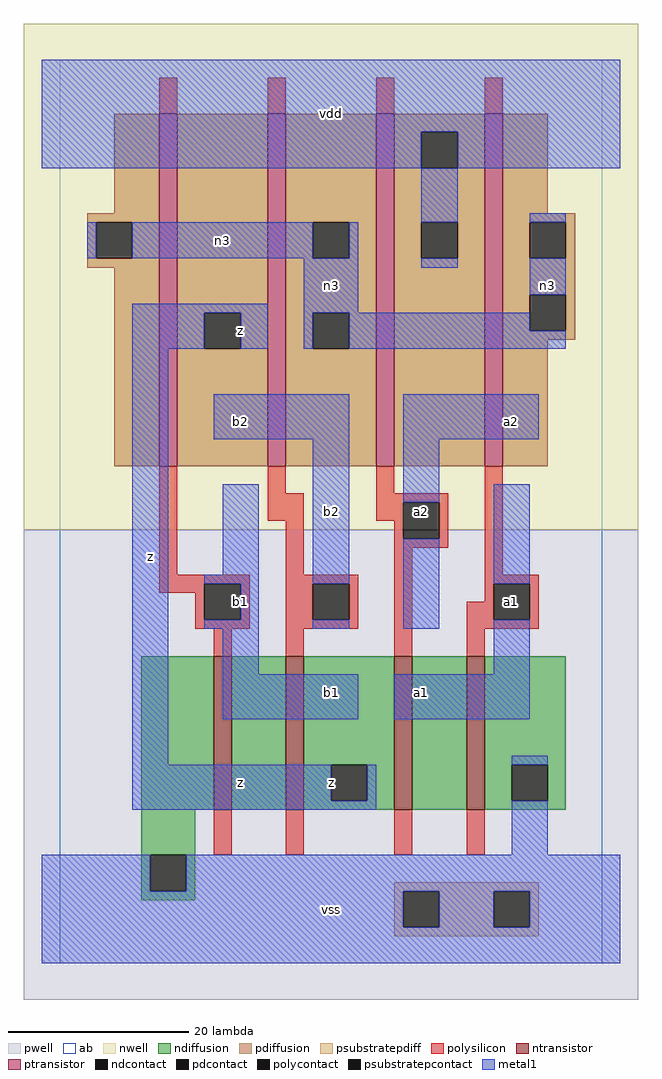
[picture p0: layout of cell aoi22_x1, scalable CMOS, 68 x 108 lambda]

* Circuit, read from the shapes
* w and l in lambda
.subckt aoi22_x1 a1 a2 b1 b2 n3 vdd vss z
M1 n1 b1 vss vss nfet w=17 l=2
M2 z b2 n1 vss nfet w=17 l=2
M3 n2 a2 z vss nfet w=17 l=2
M4 vss a1 n2 vss nfet w=17 l=2
M5 z b1 n3 n4 pfet w=39 l=2
M6 n3 b2 z n4 pfet w=39 l=2
M7 vdd a2 n3 n4 pfet w=39 l=2
M8 n3 a1 vdd n4 pfet w=39 l=2
.ends

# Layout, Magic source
magic
tech scmos
<< ab >>
rect 0 0 60 100
<< pwell >>
rect -4 -4 64 48
<< nwell >>
rect -4 48 64 104
<< polysilicon >>
rect 11 94 13 98
rect 23 94 25 98
rect 35 94 37 98
rect 47 94 49 98
rect 11 43 13 55
rect 23 52 25 55
rect 35 52 37 55
rect 23 49 27 52
rect 35 51 43 52
rect 35 49 38 51
rect 25 43 27 49
rect 37 47 38 49
rect 42 47 43 51
rect 37 46 43 47
rect 11 42 21 43
rect 11 41 16 42
rect 15 38 16 41
rect 20 38 21 42
rect 15 37 21 38
rect 25 42 33 43
rect 25 38 28 42
rect 32 38 33 42
rect 25 37 33 38
rect 17 34 19 37
rect 25 34 27 37
rect 37 34 39 46
rect 47 43 49 55
rect 47 42 53 43
rect 47 40 48 42
rect 45 38 48 40
rect 52 38 53 42
rect 45 37 53 38
rect 45 34 47 37
rect 17 12 19 17
rect 25 12 27 17
rect 37 12 39 17
rect 45 12 47 17
<< ndiffusion >>
rect 9 17 17 34
rect 19 17 25 34
rect 27 22 37 34
rect 27 18 30 22
rect 34 18 37 22
rect 27 17 37 18
rect 39 17 45 34
rect 47 22 56 34
rect 47 18 50 22
rect 54 18 56 22
rect 47 17 56 18
rect 9 12 15 17
rect 9 8 10 12
rect 14 8 15 12
rect 9 7 15 8
<< pdiffusion >>
rect 6 83 11 94
rect 3 82 11 83
rect 3 78 4 82
rect 8 78 11 82
rect 3 77 11 78
rect 6 55 11 77
rect 13 72 23 94
rect 13 68 16 72
rect 20 68 23 72
rect 13 55 23 68
rect 25 82 35 94
rect 25 78 28 82
rect 32 78 35 82
rect 25 72 35 78
rect 25 68 28 72
rect 32 68 35 72
rect 25 55 35 68
rect 37 92 47 94
rect 37 88 40 92
rect 44 88 47 92
rect 37 82 47 88
rect 37 78 40 82
rect 44 78 47 82
rect 37 55 47 78
rect 49 83 54 94
rect 49 82 57 83
rect 49 78 52 82
rect 56 78 57 82
rect 49 74 57 78
rect 49 70 52 74
rect 56 70 57 74
rect 49 69 57 70
rect 49 55 54 69
<< metal1 >>
rect -2 92 62 100
rect -2 88 40 92
rect 44 88 62 92
rect 40 82 44 88
rect 3 78 4 82
rect 8 78 28 82
rect 32 78 33 82
rect 8 72 23 73
rect 8 68 16 72
rect 20 68 23 72
rect 27 72 33 78
rect 40 77 44 78
rect 52 82 56 83
rect 52 74 56 78
rect 27 68 28 72
rect 32 70 52 72
rect 32 68 56 70
rect 8 22 12 68
rect 17 58 32 63
rect 18 43 22 53
rect 16 42 22 43
rect 20 38 22 42
rect 16 37 22 38
rect 28 42 32 58
rect 28 37 32 38
rect 38 58 53 63
rect 38 51 42 58
rect 38 37 42 47
rect 48 42 52 53
rect 18 32 22 37
rect 48 32 52 38
rect 18 27 33 32
rect 37 27 52 32
rect 50 22 54 23
rect 8 18 30 22
rect 34 18 35 22
rect 8 17 35 18
rect 50 12 54 18
rect -2 8 10 12
rect 14 8 62 12
rect -2 4 38 8
rect 42 4 48 8
rect 52 4 62 8
rect -2 0 62 4
<< ntransistor >>
rect 17 17 19 34
rect 25 17 27 34
rect 37 17 39 34
rect 45 17 47 34
<< ptransistor >>
rect 11 55 13 94
rect 23 55 25 94
rect 35 55 37 94
rect 47 55 49 94
<< polycontact >>
rect 38 47 42 51
rect 16 38 20 42
rect 28 38 32 42
rect 48 38 52 42
<< ndcontact >>
rect 30 18 34 22
rect 50 18 54 22
rect 10 8 14 12
<< pdcontact >>
rect 4 78 8 82
rect 16 68 20 72
rect 28 78 32 82
rect 28 68 32 72
rect 40 88 44 92
rect 40 78 44 82
rect 52 78 56 82
rect 52 70 56 74
<< psubstratepcontact >>
rect 38 4 42 8
rect 48 4 52 8
<< psubstratepdiff >>
rect 37 8 53 9
rect 37 4 38 8
rect 42 4 48 8
rect 52 4 53 8
rect 37 3 53 4
<< labels >>
rlabel metal1 20 20 20 20 6 z
rlabel metal1 20 40 20 40 6 b1
rlabel metal1 10 45 10 45 6 z
rlabel metal1 20 60 20 60 6 b2
rlabel metal1 20 70 20 70 6 z
rlabel metal1 30 6 30 6 6 vss
rlabel metal1 30 20 30 20 6 z
rlabel metal1 30 30 30 30 6 b1
rlabel metal1 30 50 30 50 6 b2
rlabel metal1 30 75 30 75 6 n3
rlabel metal1 18 80 18 80 6 n3
rlabel metal1 30 94 30 94 6 vdd
rlabel metal1 40 30 40 30 6 a1
rlabel polycontact 40 50 40 50 6 a2
rlabel polycontact 50 40 50 40 6 a1
rlabel metal1 50 60 50 60 6 a2
rlabel metal1 54 75 54 75 6 n3
<< end >>
